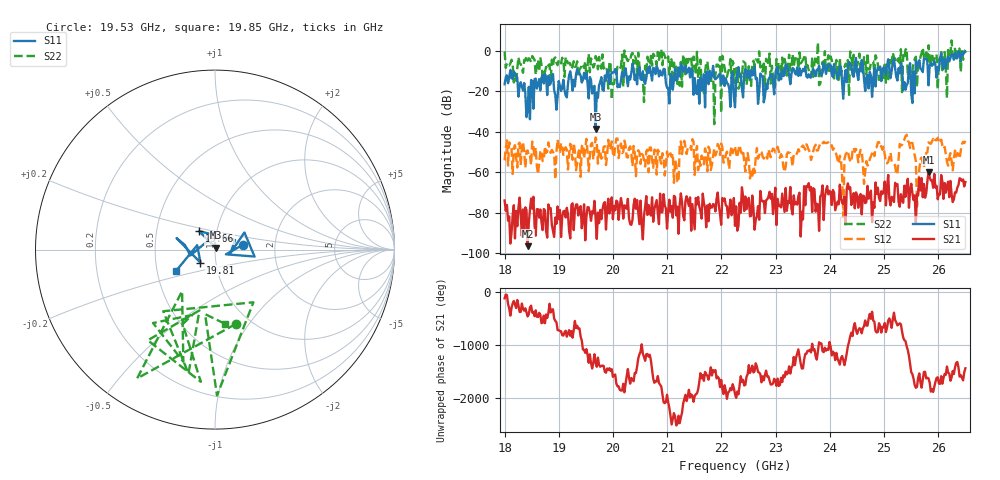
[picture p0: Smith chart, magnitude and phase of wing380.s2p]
!Keysight Technologies,N5242B,MY47200105,A.14.00.23
!Date: Friday, May 10, 2024 11:20:36
!Correction: S11(C  2-Port  )
!S21(C  2-Port  )
!S12(C  2-Port  )
!S22(C  2-Port  )
!S2P File: Measurement: :
# Hz S  RI  R 50
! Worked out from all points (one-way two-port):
!   401 points, 18 GHz to 26.5 GHz, reference 50 ohm
!   highest |S21| = -59.88 dB at 25.82 GHz (marker M1); lowest = -96.6 dB at 18.43 GHz (marker M2)
!   lowest |S11| = -38.7 dB at 19.68 GHz (marker M3), VSWR 1.02, Z = 50.3 + j1.13 ohm
!   |S11| at or under -10 dB: 18.11 GHz to 19.33 GHz (1.222 GHz wide, 6.53 % of centre); 19.35 GHz to 19.9 GHz (551.2 MHz wide, 2.81 % of centre); 21.86 GHz to 22.3 GHz (445.2 MHz wide, 2.02 % of centre) (the widest 3 of 57)
!   |S22| runs from -36.3 to 5.1 dB; largest |S21 - S12| = 0.0084
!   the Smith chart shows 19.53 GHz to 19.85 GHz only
!   S11 on the Smith chart (normalised r, x): 19.53 GHz: 1.37, +0.08; 19.66 GHz: 0.82, +0.17; 19.81 GHz: 0.84, -0.12; 19.85 GHz: 0.63, -0.16
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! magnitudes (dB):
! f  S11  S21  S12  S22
! 18 GHz  -16.6  -74.0  -54.1  -0.3
! 18.43 GHz  -29.2  -96.6  -49.3  -4.9
! 18.72 GHz  -16.2  -78.2  -53.7  -9.3
! 19.42 GHz  -15.7  -87.7  -47.2  -6.5
! 19.53 GHz  -16.0  -77.3  -50.0  -7.3
! 19.66 GHz  -17.3  -74.2  -49.1  -6.9
! 19.68 GHz  -38.7  -82.9  -42.8  -2.6
! 19.81 GHz  -19.3  -78.3  -52.5  -1.8
! 19.85 GHz  -12.2  -74.8  -47.1  -7.6
! 20.55 GHz  -10.2  -93.2  -51.6  -13.7
! 20.85 GHz  -12.7  -85.7  -49.9  -4.5
! 21.23 GHz  -12.5  -75.8  -47.2  -17.3
! 21.4 GHz  -8.4  -76.7  -46.9  -4.2
! 21.85 GHz  -7.5  -75.8  -52.0  -9.0
! 22.25 GHz  -27.9  -86.5  -47.2  -16.0
! 22.57 GHz  -12.2  -71.5  -61.7  -6.1
! 23.67 GHz  -10.4  -79.7  -52.0  -3.9
! 25.1 GHz  -9.1  -73.1  -52.7  -6.2
! 25.42 GHz  -16.9  -66.8  -41.5  1.2
! 25.63 GHz  -6.0  -71.4  -68.8  -4.9
! 25.82 GHz  -17.1  -59.9  -45.2  2.7
! 26.5 GHz  -0.4  -64.9  -44.6  0.4
